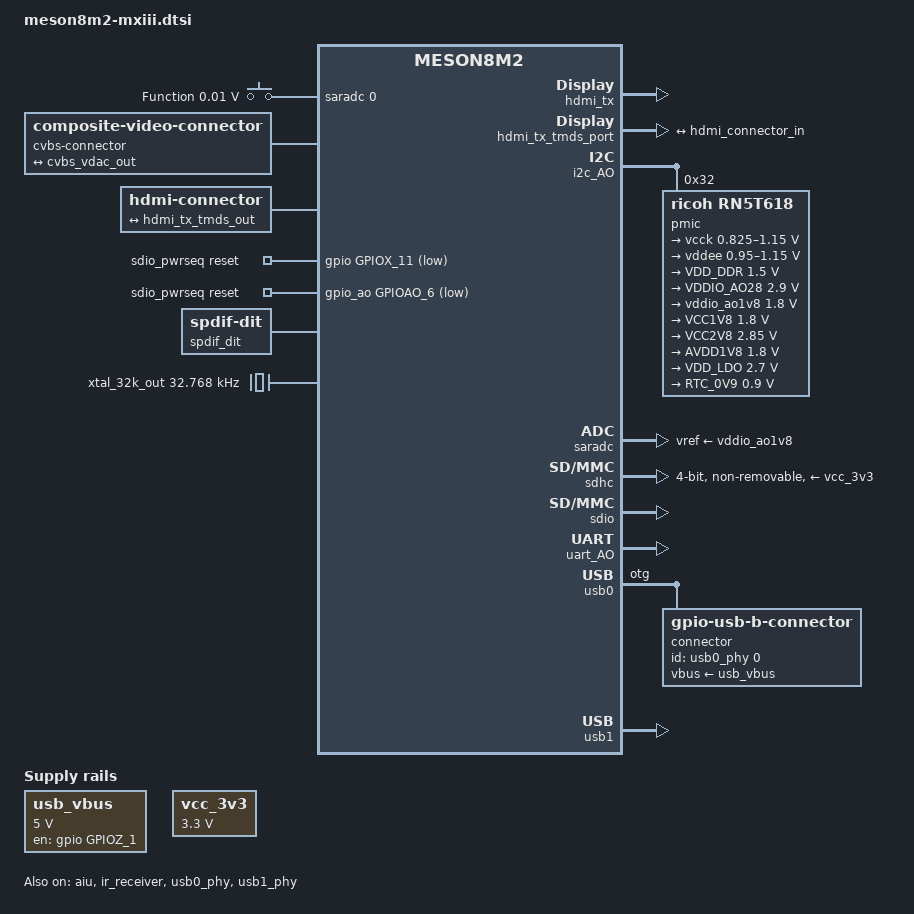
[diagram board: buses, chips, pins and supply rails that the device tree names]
// SPDX-License-Identifier: (GPL-2.0+ OR MIT)
/*
 * Copyright (c) 2018 Oleg Ivanov <balbes-150@yandex.ru>
 * Copyright (c) 2018 Martin Blumenstingl <martin.blumenstingl@googlemail.com>
 */

/dts-v1/;

#include "meson8m2.dtsi"

#include <dt-bindings/gpio/gpio.h>
#include <dt-bindings/input/input.h>

/ {
	aliases {
		ethernet0 = &ethmac;
		i2c0 = &i2c_AO;
		serial0 = &uart_AO;
	};

	chosen {
		stdout-path = "serial0:115200n8";
	};

	adc-keys {
		compatible = "adc-keys";
		io-channels = <&saradc 0>;
		io-channel-names = "buttons";
		keyup-threshold-microvolt = <1710000>;

		button-function {
			label = "Function";
			linux,code = <KEY_FN>;
			press-threshold-microvolt = <10000>;
		};
	};

	cvbs-connector {
		compatible = "composite-video-connector";

		port {
			cvbs_connector_in: endpoint {
				remote-endpoint = <&cvbs_vdac_out>;
			};
		};
	};

	hdmi-connector {
		compatible = "hdmi-connector";
		type = "a";

		port {
			hdmi_connector_in: endpoint {
				remote-endpoint = <&hdmi_tx_tmds_out>;
			};
		};
	};

	sdio_pwrseq: sdio-pwrseq {
		compatible = "mmc-pwrseq-simple";

		pinctrl-0 = <&xtal_32k_out_pins>;
		pinctrl-names = "default";

		reset-gpios = <&gpio GPIOX_11 GPIO_ACTIVE_LOW>,
			      <&gpio_ao GPIOAO_6 GPIO_ACTIVE_LOW>;

		clocks = <&xtal_32k_out>;
		clock-names = "ext_clock";
	};

	sound {
		compatible = "amlogic,gx-sound-card";
		model = "TRONSMART-MXIII";

		assigned-clocks = <&clkc CLKID_MPLL0>,
				  <&clkc CLKID_MPLL1>;
		assigned-clock-rates = <270950400>,
				       <294912000>;

		dai-link-0 {
			sound-dai = <&aiu AIU_CPU CPU_I2S_FIFO>;
		};

		dai-link-1 {
			sound-dai = <&aiu AIU_CPU CPU_SPDIF_FIFO>;
		};

		dai-link-2 {
			sound-dai = <&aiu AIU_CPU CPU_I2S_ENCODER>;
			dai-format = "i2s";
			mclk-fs = <256>;

			codec-0 {
				sound-dai = <&aiu AIU_HDMI CTRL_I2S>;
			};
		};

		dai-link-3 {
			sound-dai = <&aiu AIU_HDMI CTRL_OUT>;

			codec-0 {
				sound-dai = <&hdmi_tx 0>;
			};
		};

		dai-link-4 {
			sound-dai = <&aiu AIU_CPU CPU_SPDIF_ENCODER>;

			codec-0 {
				sound-dai = <&spdif_dit>;
			};
		};
	};

	spdif_dit: spdif-audio-codec {
		compatible = "linux,spdif-dit";
		#sound-dai-cells = <0>;
		sound-name-prefix = "DIT";
	};

	usb_vbus: regulator-usb-vbus {
		compatible = "regulator-fixed";

		regulator-name = "USB_VBUS";

		regulator-min-microvolt = <5000000>;
		regulator-max-microvolt = <5000000>;

		gpio = <&gpio GPIOZ_1 GPIO_ACTIVE_HIGH>;
		enable-active-high;
	};

	vcc_3v3: regulator-vcc3v3 {
		compatible = "regulator-fixed";
		regulator-name = "VCC3V3";
		regulator-min-microvolt = <3300000>;
		regulator-max-microvolt = <3300000>;
	};

	xtal_32k_out: xtal-32k-out-clk {
		compatible = "fixed-clock";
		#clock-cells = <0>;
		clock-frequency = <32768>;
		clock-output-names = "xtal_32k_out";
	};
};

&aiu {
	status = "okay";

	pinctrl-0 = <&i2s_am_clk_pins>, <&i2s_out_ao_clk_pins>,
		    <&i2s_out_lr_clk_pins>, <&i2s_out_ch01_ao_pins>,
		    <&spdif_out_pins>;
	pinctrl-names = "default";
};

&cpu0 {
	cpu-supply = <&vcck>;
};

&cvbs_vdac_port {
	cvbs_vdac_out: endpoint {
		remote-endpoint = <&cvbs_connector_in>;
	};
};

&hdmi_tx {
	status = "okay";
	pinctrl-0 = <&hdmi_hpd_pins>, <&hdmi_i2c_pins>;
	pinctrl-names = "default";
};

&hdmi_tx_tmds_port {
	hdmi_tx_tmds_out: endpoint {
		remote-endpoint = <&hdmi_connector_in>;
	};
};

&ir_receiver {
	status = "okay";
	pinctrl-0 = <&ir_recv_pins>;
	pinctrl-names = "default";
};

&i2c_AO {
	status = "okay";
	pinctrl-0 = <&i2c_ao_pins>;
	pinctrl-names = "default";

	pmic@32 {
		compatible = "ricoh,rn5t618";
		reg = <0x32>;
		system-power-controller;

		regulators {
			vcck: DCDC1 {
				regulator-name = "VCCK";
				regulator-min-microvolt = <825000>;
				regulator-max-microvolt = <1150000>;
				regulator-boot-on;
				regulator-always-on;
			};

			vddee: DCDC2 {
				/* the output is also used as VDDAO */
				regulator-name = "VDD_EE";
				regulator-min-microvolt = <950000>;
				regulator-max-microvolt = <1150000>;
				regulator-boot-on;
				regulator-always-on;
			};

			DCDC3 {
				regulator-name = "VDD_DDR";
				regulator-min-microvolt = <1500000>;
				regulator-max-microvolt = <1500000>;
				regulator-boot-on;
				regulator-always-on;
			};

			LDO1 {
				regulator-name = "VDDIO_AO28";
				regulator-min-microvolt = <2900000>;
				regulator-max-microvolt = <2900000>;
				regulator-boot-on;
				regulator-always-on;
			};

			vddio_ao1v8: LDO2 {
				regulator-name = "VDDIO_AO18";
				regulator-min-microvolt = <1800000>;
				regulator-max-microvolt = <1800000>;
				regulator-boot-on;
				regulator-always-on;
			};

			LDO3 {
				regulator-name = "VCC1V8";
				regulator-min-microvolt = <1800000>;
				regulator-max-microvolt = <1800000>;
				regulator-boot-on;
				regulator-always-on;
			};

			LDO4 {
				regulator-name = "VCC2V8";
				regulator-min-microvolt = <2850000>;
				regulator-max-microvolt = <2850000>;
				regulator-boot-on;
				regulator-always-on;
			};

			LDO5 {
				regulator-name = "AVDD1V8";
				regulator-min-microvolt = <1800000>;
				regulator-max-microvolt = <1800000>;
				regulator-boot-on;
				regulator-always-on;
			};

			LDORTC1 {
				regulator-name = "VDD_LDO";
				regulator-min-microvolt = <2700000>;
				regulator-max-microvolt = <2700000>;
				regulator-boot-on;
				regulator-always-on;
			};

			LDORTC2 {
				regulator-name = "RTC_0V9";
				regulator-min-microvolt = <900000>;
				regulator-max-microvolt = <900000>;
				regulator-boot-on;
				regulator-always-on;
			};
		};
	};
};

&mali {
	mali-supply = <&vddee>;
};

&saradc {
	status = "okay";
	vref-supply = <&vddio_ao1v8>;
};

/* SDIO wifi */
&sdhc {
	status = "okay";

	pinctrl-0 = <&sdxc_a_pins>;
	pinctrl-names = "default";

	bus-width = <4>;
	max-frequency = <50000000>;

	disable-wp;
	non-removable;
	cap-mmc-highspeed;
	cap-sd-highspeed;

	mmc-pwrseq = <&sdio_pwrseq>;

	vmmc-supply = <&vcc_3v3>;
	vqmmc-supply = <&vcc_3v3>;
};

/* SD card */
&sdio {
	status = "okay";

	pinctrl-0 = <&sd_b_pins>;
	pinctrl-names = "default";

	slot@0 {
		compatible = "mmc-slot";
		reg = <1>;

		bus-width = <4>;
		max-frequency = <50000000>;

		no-mmc;
		no-sdio;
		cap-sd-highspeed;
		disable-wp;

		cd-gpios = <&gpio CARD_6 GPIO_ACTIVE_LOW>;

		vmmc-supply = <&vcc_3v3>;
	};
};

&uart_AO {
	status = "okay";
	pinctrl-0 = <&uart_ao_a_pins>;
	pinctrl-names = "default";
};

&usb0 {
	status = "okay";

	dr_mode = "otg";
	usb-role-switch;

	connector {
		compatible = "gpio-usb-b-connector", "usb-b-connector";
		type = "micro";
		id-gpios = <&usb0_phy 0 GPIO_ACTIVE_HIGH>;
		vbus-supply = <&usb_vbus>;
	};
};

&usb1 {
	status = "okay";
};

&usb0_phy {
	status = "okay";
};

&usb1_phy {
	status = "okay";
};
